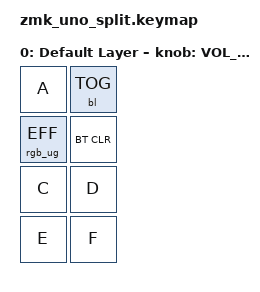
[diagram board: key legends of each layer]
/*
 * Copyright (c) 2022 The ZMK Contributors
 *
 * SPDX-License-Identifier: MIT
 */

#include <behaviors.dtsi>
#include <dt-bindings/zmk/keys.h>
#include <dt-bindings/zmk/backlight.h>
#include <dt-bindings/zmk/bt.h>
#include <dt-bindings/zmk/ext_power.h>
#include <dt-bindings/zmk/outputs.h>
#include <dt-bindings/zmk/rgb.h>

// Uncomment the following lines if using the "Direct Wire" jumper to switch the matrix to a direct wire.

// / {
//     chosen {
//         zmk,physical-layout = &direct_physical_layout;
//     };
// };

/ {
    keymap {
        compatible = "zmk,keymap";

        default_layer {
            display-name = "Default Layer";
            bindings = <&kp A &bl BL_TOG
                        &rgb_ug RGB_EFF &bt BT_CLR
                        &kp C &kp D
                        &kp E &kp F>;

            sensor-bindings = <&inc_dec_kp C_VOL_UP C_VOL_DN &inc_dec_kp PG_UP PG_DN>;
        };
    };
};
